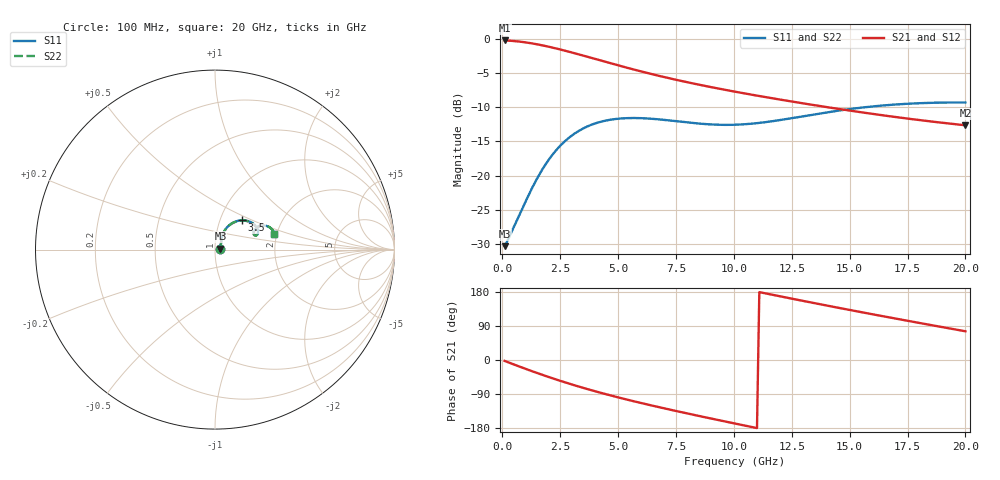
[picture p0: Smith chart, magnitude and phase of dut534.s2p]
! Touchstone file exported from HFSS 2024.1.0
!  File:  C:/UserFiles/LocalFiles/RDL_TSV_Batchsim/temp_RDL_TSV_534_1779745627.aedt
!  Generated:  06:03:30 AM May 26, 2026
!  Design:  RDL_TSV
!  Project:  temp_RDL_TSV_534_1779745627
!  Setup:  Setup1
!  Solution:  Sweep
! Variables:
!  dtsv = 9.84um
!  hbump = 3um
!  htsv = 82.69um
!  ldown = 611.1um
!  lrdl = 590.32um
!  p = 40
!  p1 = 46.67um
!  rhole = 10um
!  subl = 4194.58um
!  t = 450um
!  tdown = 2.6um
!  trdl = 4.69um
!  viad = 10um
!  wdown = 11.19um
!  wrdl = 22.61um
!  xbump = 18um
# GHz S MA R 50.000000
! Terminal data exported
! Port[1] = TM1_1_T1
! Port[2] = TM1_4_T1
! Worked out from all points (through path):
!   200 points, 100 MHz to 20 GHz, reference 50 ohm
!   highest |S21| = -0.27 dB at 100 MHz (marker M1); lowest = -12.6 dB at 20 GHz (marker M2)
!   group delay of S21, straight-line fit = 37.5 ps
!   lowest |S11| = -30.3 dB at 100 MHz (marker M3), VSWR 1.06, Z = 53.1 + j0.639 ohm
!   |S11| at or under -10 dB: start of sweep to 15.7 GHz
!   |S22| runs from -30.3 to -9.3 dB; largest |S21 - S12| = 1.1e-14
!   S11 on the Smith chart (normalised r, x): 100 MHz: 1.06, +0.01; 3.5 GHz: 1.27, +0.44; 20 GHz: 1.94, +0.38
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0.1  0.03058 11.3  0.9697 -2.4  0.9697 -2.4  0.03058 11.3
! Gamma 0 0 0 0
! Port Impedance 50 0 50 0
0.5  0.0422 39.4  0.9604 -11.8  0.9604 -11.8  0.04222 39.3
0.9  0.05919 54.4  0.9443 -21.0  0.9443 -21.0  0.0592 54.3
1.4  0.08852 62.6  0.9158 -32.1  0.9158 -32.1  0.08841 62.3
1.8  0.1161 63.4  0.8881 -40.6  0.8881 -40.6  0.1158 63.1
2.2  0.1446 61.3  0.8577 -48.9  0.8577 -48.9  0.1441 61.0
2.6  0.1718 57.7  0.8255 -56.9  0.8255 -56.9  0.1711 57.4
3  0.1962 53.3  0.7925 -64.5  0.7925 -64.5  0.1953 53.0
3.5  0.2214 47.5  0.7515 -73.6  0.7515 -73.6  0.2203 47.3
4.3  0.2486 38.7  0.6887 -87.4  0.6887 -87.4  0.247 38.5
5.1  0.2612 31.3  0.6319 -100.1  0.6319 -100.1  0.2593 31.0
5.9  0.2631 25.5  0.5819 -112.1  0.5819 -112.1  0.2609 25.3
6.8  0.2571 21.2  0.5335 -124.9  0.5335 -124.9  0.2546 21.0
7.6  0.2488 19.4  0.4967 -135.8  0.4967 -135.8  0.246 19.2
8.4  0.2408 19.2  0.4647 -146.5  0.4647 -146.5  0.2378 19.1
10.1  0.2355 22.7  0.4086 -168.3  0.4086 -168.3  0.2326 22.9
11.8  0.2516 26.8  0.3637 170.4  0.3637 170.4  0.2492 27.2
13.4  0.2787 27.8  0.3285 151.0  0.3285 151.0  0.2769 28.2
15  0.3061 25.9  0.2985 132.1  0.2985 132.1  0.3048 26.3
16.7  0.328 22.3  0.2718 112.5  0.2718 112.5  0.3271 22.6
18.3  0.3392 18.4  0.2511 94.6  0.2511 94.6  0.3386 18.7
20  0.342 14.6  0.2332 75.8  0.2332 75.8  0.3415 14.8
